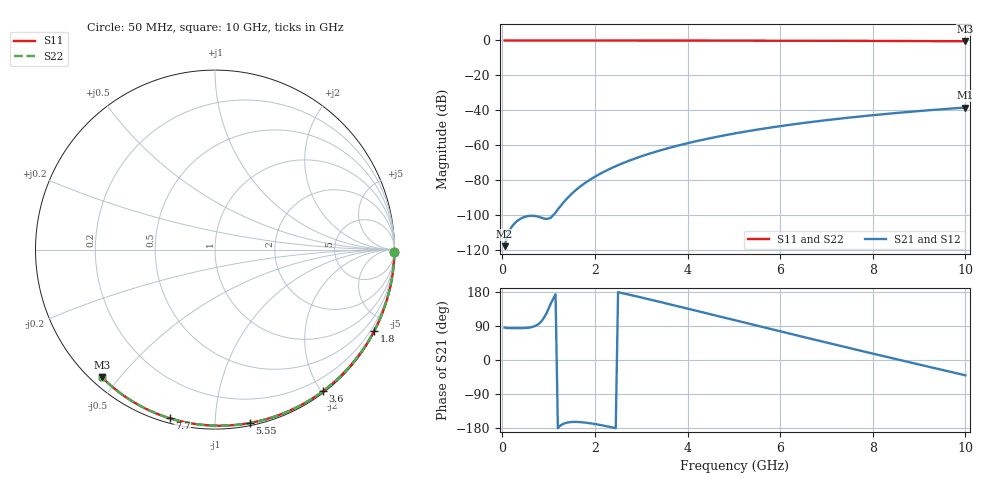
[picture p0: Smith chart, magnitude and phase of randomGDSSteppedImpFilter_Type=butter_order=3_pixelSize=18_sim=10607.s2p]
! freq	dB(S11)	phase(S11)	dB(S12)	phase(S12)
!  dB(S21)	phase(S21)	dB(S22)	phase(S22)
!S-par simulation data
#  GHz  S  DB  R 50
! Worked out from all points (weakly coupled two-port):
!   200 points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, 50 MHz to 10 GHz, reference 50 ohm
!   highest |S21| = -38.40 dB at 10 GHz (marker M1); lowest = -117.8 dB at 50 MHz (marker M2)
!   lowest |S11| = -0.4 dB at 10 GHz (marker M3), VSWR 39.09, Z = 1.54 - j22.5 ohm
!   |S11| at or under -10 dB: nowhere
!   |S22| runs from -0.4 to 0.0 dB; largest |S21 - S12| = 0
!   S11 on the Smith chart (normalised r, x): 50 MHz: open; 1.8 GHz: 0.04, -4.17; 3.6 GHz: 0.02, -2.02; 5.55 GHz: 0.02, -1.22; 7.7 GHz: 0.02, -0.77; 10 GHz: 0.03, -0.45
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0.05  -0.00 -0.8  -117.78 85.4  -117.78 85.4  -0.00 -0.8
0.9  -0.02 -13.6  -101.96 111.8  -101.96 111.8  -0.02 -13.6
1.75  -0.03 -26.2  -82.30 -164.6  -82.30 -164.6  -0.03 -26.2
1.8  -0.03 -26.9  -81.37 -165.3  -81.37 -165.3  -0.03 -27.0
1.85  -0.04 -27.7  -80.48 -166.1  -80.48 -166.1  -0.04 -27.7
1.9  -0.04 -28.4  -79.62 -167.0  -79.62 -167.0  -0.04 -28.4
2.05  -0.04 -30.6  -77.25 -170.0  -77.25 -170.0  -0.04 -30.6
2.25  -0.04 -33.5  -74.45 -174.7  -74.45 -174.7  -0.04 -33.5
2.45  -0.05 -36.4  -71.98 -179.7  -71.98 -179.7  -0.05 -36.4
2.65  -0.05 -39.3  -69.76 174.9  -69.76 174.9  -0.05 -39.3
3  -0.06 -44.3  -66.35 165.0  -66.35 165.0  -0.06 -44.3
3.4  -0.07 -49.9  -63.02 153.4  -63.02 153.4  -0.07 -49.9
3.6  -0.07 -52.7  -61.53 147.5  -61.53 147.5  -0.07 -52.7
4.3  -0.09 -62.3  -57.02 126.6  -57.02 126.6  -0.09 -62.3
5.05  -0.11 -72.2  -53.10 104.1  -53.10 104.1  -0.11 -72.3
5.55  -0.13 -78.7  -50.86 89.1  -50.86 89.1  -0.13 -78.7
6.1  -0.15 -85.7  -48.69 72.7  -48.69 72.7  -0.15 -85.7
6.7  -0.18 -93.1  -46.59 54.9  -46.59 54.9  -0.18 -93.1
7.7  -0.24 -105.1  -43.59 25.6  -43.59 25.6  -0.24 -105.2
8.35  -0.29 -112.7  -41.92 6.8  -41.92 6.8  -0.29 -112.8
9.15  -0.36 -121.9  -40.09 -16.2  -40.09 -16.2  -0.36 -121.9
10  -0.44 -131.5  -38.40 -40.4  -38.40 -40.4  -0.45 -131.6
